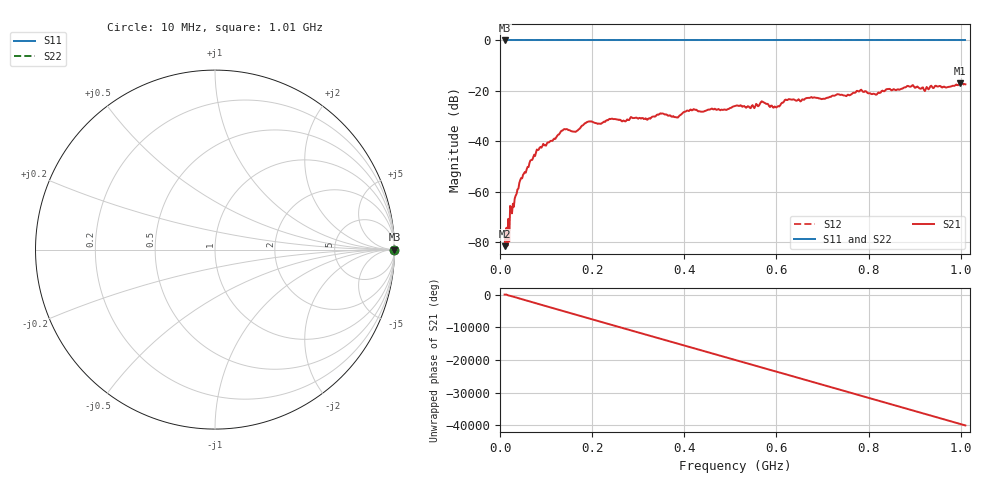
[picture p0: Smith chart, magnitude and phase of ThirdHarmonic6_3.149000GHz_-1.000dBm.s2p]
! 8/17/2025 9:25:28 AM
! C:\ANRITSUVNA\TEMP\TEMP.S2P
! CHANNEL.1
! TR.MEASUREMENT
! RAW.DATA
! RF.CORRECTION.OFF
! AVERAGING.OFF
! IF.BANDWIDTH: 5KHZ
! SWEEPTYPE:  FREQ.SWEEP(Linear)
! Reference Plane Port Info
! PORT:  PORT1  PORT2
! DISTANCE:  0  m  0  m
! TIME:  0  s  0  s
! PHASE.OFFSET:  0  deg.  0  deg.
! LOSS:  0  dB  0  dB
! REF.LOSS:  0  dB  0  dB
! REF.FREQ:  0  Hz  0  Hz
! Power Info
! POWER:  -20  dBm  -20  dBm
! EFF.POWER:  -20  dBm  -20  dBm
! SOURCE.ATTEN:  0  dB  0  dB
! TEST.ATTEN:  0  dB  0  dB
# GHZ S RI R 50.0
! FREQ.GHZ  S11RE  S11IM  S21RE  S21IM  S12RE  S12IM  S22RE  S22IM
!; PortSelection: Port_12
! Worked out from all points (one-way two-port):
!   501 points, 10 MHz to 1.01 GHz, reference 50 ohm
!   highest |S21| = -16.93 dB at 998 MHz (marker M1); lowest = -81.5 dB at 10 MHz (marker M2)
!   lowest |S11| = 0.0 dB at 10 MHz (marker M3)
!   |S11| at or under -10 dB: nowhere
!   |S22| runs from 0.0 to 0.0 dB; largest |S21 - S12| = 1.1
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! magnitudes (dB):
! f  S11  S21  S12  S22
! 10 MHz  0.0  -81.5  0.0  0.0
! 16 MHz  0.0  -81.4  0.0  0.0
! 26 MHz  0.0  -68.5  0.0  0.0
! 46 MHz  0.0  -54.5  0.0  0.0
! 82 MHz  0.0  -43.4  0.0  0.0
! 136 MHz  0.0  -35.7  0.0  0.0
! 164 MHz  0.0  -36.2  0.0  0.0
! 178 MHz  0.0  -33.8  0.0  0.0
! 344 MHz  0.0  -29.4  0.0  0.0
! 384 MHz  0.0  -30.5  0.0  0.0
! 416 MHz  0.0  -27.7  0.0  0.0
! 510 MHz  0.0  -26.0  0.0  0.0
! 548 MHz  0.0  -25.6  0.0  0.0
! 570 MHz  0.0  -24.3  0.0  0.0
! 596 MHz  0.0  -26.2  0.0  0.0
! 622 MHz  0.0  -23.6  0.0  0.0
! 678 MHz  0.0  -22.7  0.0  0.0
! 780 MHz  0.0  -20.2  0.0  0.0
! 814 MHz  0.0  -21.3  0.0  0.0
! 844 MHz  0.0  -19.2  0.0  0.0
! 998 MHz  0.0  -16.9  0.0  0.0
! 1.01 GHz  0.0  -17.4  0.0  0.0
